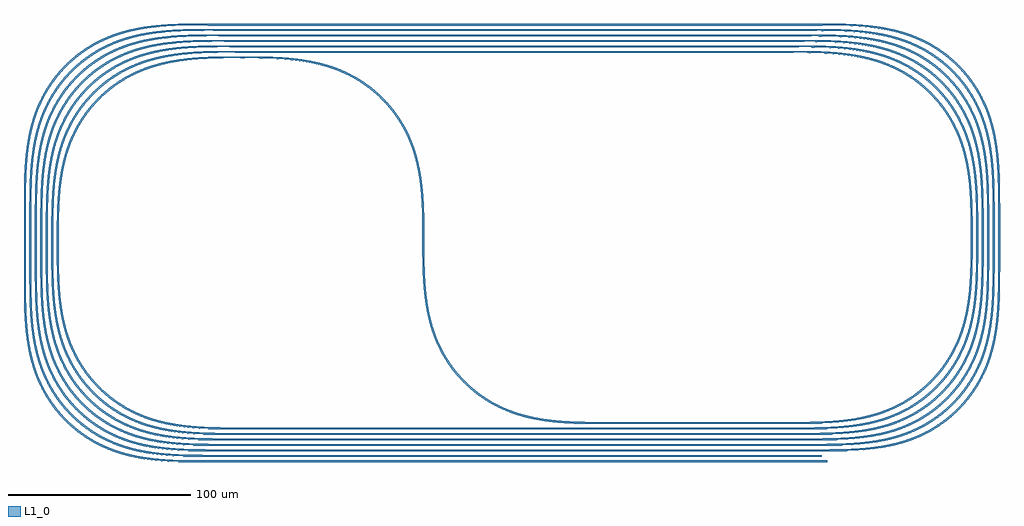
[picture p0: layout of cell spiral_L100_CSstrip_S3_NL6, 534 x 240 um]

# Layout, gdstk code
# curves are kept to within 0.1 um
from math import pi, radians
import gdstk
lib = gdstk.Library(unit=1e-6, precision=1e-09)
def R(c, l, rs):  # rectangles x0, y0, x1, y1
    for r in rs: c.add(gdstk.rectangle(r[:2], r[2:], *l))
def P(c, l, *ps):  # polygons
    for p in ps: c.add(gdstk.Polygon(p, *l))
L1_0 = (1, 0)

bend_euler_r100_a90_p0p5 = lib.new_cell('bend_euler_R100_A90_P0p5_WNone_CSstrip_AMRVFalse')
P(bend_euler_r100_a90_p0p5, L1_0, [(0,-0.5),(0,0.5),(17.574,0.731),(23.946,1.086),(30.293,1.69),(39.335,3.124),(47.433,5.154),(51.703,6.582),(55.64,8.162),(59.368,9.922),(63.215,12.033),(66.923,14.38),(70.582,17.036),(74.062,19.923),(77.067,22.745),(80.077,25.938),(82.964,29.418),(85.47,32.857),(87.831,36.556),(89.896,40.277),(91.838,44.36),(93.418,48.297),(94.846,52.567),(96.876,60.665),(98.31,69.707),(98.914,76.054),(99.269,82.426),(99.5,100),(100.5,100),(100.326,83.988),(99.63,72.649),(99.033,67.465),(98.212,62.308),(97.226,57.586),(96.07,53.178),(94.72,48.962),(93.074,44.704),(91.152,40.54),(88.897,36.393),(86.448,32.516),(83.919,29.018),(80.915,25.376),(77.868,22.132),(74.624,19.085),(70.982,16.081),(67.484,13.552),(63.607,11.103),(59.46,8.848),(55.296,6.926),(51.038,5.28),(46.822,3.93),(42.414,2.774),(37.692,1.788),(32.535,0.967),(27.351,0.37),(16.012,-0.326)])

straight_l3_csstrip_wnon = lib.new_cell('straight_L3_CSstrip_WNone_N2')
R(straight_l3_csstrip_wnon, L1_0, [(0,-0.5,3,0.5)])

straight_l303_csstrip_wn = lib.new_cell('straight_L303_CSstrip_WNone_N2')
R(straight_l303_csstrip_wn, L1_0, [(0,-0.5,303,0.5)])

straight_l100_csstrip_wn = lib.new_cell('straight_L100_CSstrip_WNone_N2')
R(straight_l100_csstrip_wn, L1_0, [(0,-0.5,100,0.5)])

straight_l9_csstrip_wnon = lib.new_cell('straight_L9_CSstrip_WNone_N2')
R(straight_l9_csstrip_wnon, L1_0, [(0,-0.5,9,0.5)])

straight_l309_csstrip_wn = lib.new_cell('straight_L309_CSstrip_WNone_N2')
R(straight_l309_csstrip_wn, L1_0, [(0,-0.5,309,0.5)])

straight_l15_csstrip_wno = lib.new_cell('straight_L15_CSstrip_WNone_N2')
R(straight_l15_csstrip_wno, L1_0, [(0,-0.5,15,0.5)])

straight_l315_csstrip_wn = lib.new_cell('straight_L315_CSstrip_WNone_N2')
R(straight_l315_csstrip_wn, L1_0, [(0,-0.5,315,0.5)])

straight_l21_csstrip_wno = lib.new_cell('straight_L21_CSstrip_WNone_N2')
R(straight_l21_csstrip_wno, L1_0, [(0,-0.5,21,0.5)])

straight_l321_csstrip_wn = lib.new_cell('straight_L321_CSstrip_WNone_N2')
R(straight_l321_csstrip_wn, L1_0, [(0,-0.5,321,0.5)])

straight_l27_csstrip_wno = lib.new_cell('straight_L27_CSstrip_WNone_N2')
R(straight_l27_csstrip_wno, L1_0, [(0,-0.5,27,0.5)])

straight_l327_csstrip_wn = lib.new_cell('straight_L327_CSstrip_WNone_N2')
R(straight_l327_csstrip_wn, L1_0, [(0,-0.5,327,0.5)])

straight_l33_csstrip_wno = lib.new_cell('straight_L33_CSstrip_WNone_N2')
R(straight_l33_csstrip_wno, L1_0, [(0,-0.5,33,0.5)])

straight_l333_csstrip_wn = lib.new_cell('straight_L333_CSstrip_WNone_N2')
R(straight_l333_csstrip_wn, L1_0, [(0,-0.5,333,0.5)])

straight_l39_csstrip_wno = lib.new_cell('straight_L39_CSstrip_WNone_N2')
R(straight_l39_csstrip_wno, L1_0, [(0,-0.5,39,0.5)])

straight_l339_csstrip_wn = lib.new_cell('straight_L339_CSstrip_WNone_N2')
R(straight_l339_csstrip_wn, L1_0, [(0,-0.5,339,0.5)])

spiral_l100_csstrip_s3_n = lib.new_cell('spiral_L100_CSstrip_S3_NL6')
spiral_l100_csstrip_s3_n.add(gdstk.Reference(bend_euler_r100_a90_p0p5, (0,0), rotation=pi, x_reflection=True))
spiral_l100_csstrip_s3_n.add(gdstk.Reference(bend_euler_r100_a90_p0p5, (-100,100), rotation=pi/2))
spiral_l100_csstrip_s3_n.add(gdstk.Reference(bend_euler_r100_a90_p0p5, (-200,200), rotation=pi))
spiral_l100_csstrip_s3_n.add(gdstk.Reference(bend_euler_r100_a90_p0p5, (-300,97), rotation=3*pi/2))
spiral_l100_csstrip_s3_n.add(gdstk.Reference(straight_l3_csstrip_wnon, (-300,100), rotation=3*pi/2))
spiral_l100_csstrip_s3_n.add(gdstk.Reference(straight_l303_csstrip_wn, (-200,-3)))
spiral_l100_csstrip_s3_n.add(gdstk.Reference(straight_l100_csstrip_wn, (0,0)))
spiral_l100_csstrip_s3_n.add(gdstk.Reference(bend_euler_r100_a90_p0p5, (100,0)))
spiral_l100_csstrip_s3_n.add(gdstk.Reference(bend_euler_r100_a90_p0p5, (103,-3)))
spiral_l100_csstrip_s3_n.add(gdstk.Reference(bend_euler_r100_a90_p0p5, (200,103), rotation=pi/2))
spiral_l100_csstrip_s3_n.add(gdstk.Reference(bend_euler_r100_a90_p0p5, (203,106), rotation=pi/2))
spiral_l100_csstrip_s3_n.add(gdstk.Reference(bend_euler_r100_a90_p0p5, (-203,203), rotation=pi))
spiral_l100_csstrip_s3_n.add(gdstk.Reference(bend_euler_r100_a90_p0p5, (-206,206), rotation=pi))
spiral_l100_csstrip_s3_n.add(gdstk.Reference(bend_euler_r100_a90_p0p5, (-303,94), rotation=3*pi/2))
spiral_l100_csstrip_s3_n.add(gdstk.Reference(bend_euler_r100_a90_p0p5, (-306,91), rotation=3*pi/2))
spiral_l100_csstrip_s3_n.add(gdstk.Reference(straight_l3_csstrip_wnon, (200,100), rotation=pi/2))
spiral_l100_csstrip_s3_n.add(gdstk.Reference(straight_l9_csstrip_wnon, (203,97), rotation=pi/2))
spiral_l100_csstrip_s3_n.add(gdstk.Reference(straight_l303_csstrip_wn, (100,203), rotation=pi))
spiral_l100_csstrip_s3_n.add(gdstk.Reference(straight_l309_csstrip_wn, (103,206), rotation=pi))
spiral_l100_csstrip_s3_n.add(gdstk.Reference(straight_l9_csstrip_wnon, (-303,103), rotation=3*pi/2))
spiral_l100_csstrip_s3_n.add(gdstk.Reference(straight_l15_csstrip_wno, (-306,106), rotation=3*pi/2))
spiral_l100_csstrip_s3_n.add(gdstk.Reference(straight_l309_csstrip_wn, (-203,-6)))
spiral_l100_csstrip_s3_n.add(gdstk.Reference(straight_l315_csstrip_wn, (-206,-9)))
spiral_l100_csstrip_s3_n.add(gdstk.Reference(bend_euler_r100_a90_p0p5, (106,-6)))
spiral_l100_csstrip_s3_n.add(gdstk.Reference(bend_euler_r100_a90_p0p5, (109,-9)))
spiral_l100_csstrip_s3_n.add(gdstk.Reference(bend_euler_r100_a90_p0p5, (206,109), rotation=pi/2))
spiral_l100_csstrip_s3_n.add(gdstk.Reference(bend_euler_r100_a90_p0p5, (209,112), rotation=pi/2))
spiral_l100_csstrip_s3_n.add(gdstk.Reference(bend_euler_r100_a90_p0p5, (-209,209), rotation=pi))
spiral_l100_csstrip_s3_n.add(gdstk.Reference(bend_euler_r100_a90_p0p5, (-212,212), rotation=pi))
spiral_l100_csstrip_s3_n.add(gdstk.Reference(bend_euler_r100_a90_p0p5, (-309,88), rotation=3*pi/2))
spiral_l100_csstrip_s3_n.add(gdstk.Reference(bend_euler_r100_a90_p0p5, (-312,85), rotation=3*pi/2))
spiral_l100_csstrip_s3_n.add(gdstk.Reference(straight_l15_csstrip_wno, (206,94), rotation=pi/2))
spiral_l100_csstrip_s3_n.add(gdstk.Reference(straight_l21_csstrip_wno, (209,91), rotation=pi/2))
spiral_l100_csstrip_s3_n.add(gdstk.Reference(straight_l315_csstrip_wn, (106,209), rotation=pi))
spiral_l100_csstrip_s3_n.add(gdstk.Reference(straight_l321_csstrip_wn, (109,212), rotation=pi))
spiral_l100_csstrip_s3_n.add(gdstk.Reference(straight_l21_csstrip_wno, (-309,109), rotation=3*pi/2))
spiral_l100_csstrip_s3_n.add(gdstk.Reference(straight_l27_csstrip_wno, (-312,112), rotation=3*pi/2))
spiral_l100_csstrip_s3_n.add(gdstk.Reference(straight_l321_csstrip_wn, (-209,-12)))
spiral_l100_csstrip_s3_n.add(gdstk.Reference(straight_l327_csstrip_wn, (-212,-15)))
spiral_l100_csstrip_s3_n.add(gdstk.Reference(bend_euler_r100_a90_p0p5, (112,-12)))
spiral_l100_csstrip_s3_n.add(gdstk.Reference(bend_euler_r100_a90_p0p5, (115,-15)))
spiral_l100_csstrip_s3_n.add(gdstk.Reference(bend_euler_r100_a90_p0p5, (212,115), rotation=pi/2))
spiral_l100_csstrip_s3_n.add(gdstk.Reference(bend_euler_r100_a90_p0p5, (215,118), rotation=pi/2))
spiral_l100_csstrip_s3_n.add(gdstk.Reference(bend_euler_r100_a90_p0p5, (-215,215), rotation=pi))
spiral_l100_csstrip_s3_n.add(gdstk.Reference(bend_euler_r100_a90_p0p5, (-218,218), rotation=pi))
spiral_l100_csstrip_s3_n.add(gdstk.Reference(bend_euler_r100_a90_p0p5, (-315,82), rotation=3*pi/2))
spiral_l100_csstrip_s3_n.add(gdstk.Reference(bend_euler_r100_a90_p0p5, (-318,79), rotation=3*pi/2))
spiral_l100_csstrip_s3_n.add(gdstk.Reference(straight_l27_csstrip_wno, (212,88), rotation=pi/2))
spiral_l100_csstrip_s3_n.add(gdstk.Reference(straight_l33_csstrip_wno, (215,85), rotation=pi/2))
spiral_l100_csstrip_s3_n.add(gdstk.Reference(straight_l327_csstrip_wn, (112,215), rotation=pi))
spiral_l100_csstrip_s3_n.add(gdstk.Reference(straight_l333_csstrip_wn, (115,218), rotation=pi))
spiral_l100_csstrip_s3_n.add(gdstk.Reference(straight_l33_csstrip_wno, (-315,115), rotation=3*pi/2))
spiral_l100_csstrip_s3_n.add(gdstk.Reference(straight_l39_csstrip_wno, (-318,118), rotation=3*pi/2))
spiral_l100_csstrip_s3_n.add(gdstk.Reference(straight_l333_csstrip_wn, (-215,-18)))
spiral_l100_csstrip_s3_n.add(gdstk.Reference(straight_l339_csstrip_wn, (-218,-21)))

lib.write_gds('spiral_L100_CSstrip_S3_NL6.gds')
